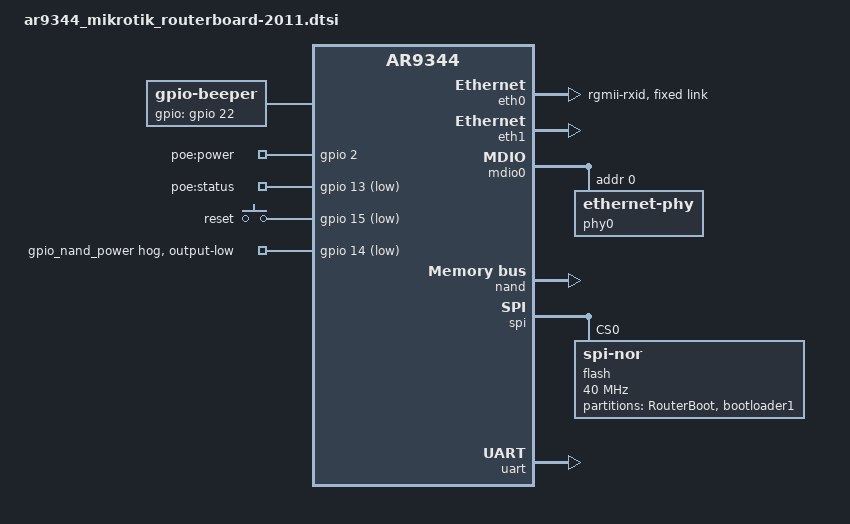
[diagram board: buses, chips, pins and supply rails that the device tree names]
// SPDX-License-Identifier: GPL-2.0-or-later OR MIT

#include "ar9344.dtsi"

#include <dt-bindings/gpio/gpio.h>
#include <dt-bindings/input/input.h>

/ {
	aliases {
		serial0 = &uart;
	};

	beeper {
		compatible = "gpio-beeper";
		gpios = <&gpio 22 GPIO_ACTIVE_HIGH>;
	};

	gpio-export {
		compatible = "gpio-export";

		gpio_poe_out {
			gpio-export,name = "poe:power";
			gpio-export,output = <0>;
			gpios = <&gpio 2 GPIO_ACTIVE_HIGH>;
		};

		gpio_poe_status {
			gpio-export,name = "poe:status";
			gpios = <&gpio 13 GPIO_ACTIVE_LOW>;
		};
	};

	keys {
		compatible = "gpio-keys";

		reset {
			debounce-interval = <60>;
			gpios = <&gpio 15 GPIO_ACTIVE_LOW>;
			label = "reset";
			linux,code = <KEY_RESTART>;
		};
	};
};

&builtin_switch {
	/delete-property/ qca,phy4-mii-enable; /* need to delete this to make all 5 FE ports work */
};

&eth0 {
	status = "okay";

	#address-cells = <1>;
	#size-cells = <0>;
	phy-mode = "rgmii-rxid";
	pll-data = <0x6f000000 0x00000101 0x00001616>; /* default for ar934x, except for 1000M */

	fixed-link {
		speed = <1000>;
		full-duplex;
	};

	gmac-config {
		device = <&gmac>;
		rgmii-gmac0 = <1>;
		rxd-delay = <1>;
		rxdv-delay = <1>;
	};

	port@0 {
		compatible = "swconfig,port";
		reg = <0>;
		swconfig,segment = "lan";
		swconfig,portmap = <1 1>;
	};

	port@1 {
		compatible = "swconfig,port";
		reg = <1>;
		swconfig,segment = "lan";
		swconfig,portmap = <2 2>;
	};

	port@2 {
		compatible = "swconfig,port";
		reg = <2>;
		swconfig,segment = "lan";
		swconfig,portmap = <3 3>;
	};

	port@3 {
		compatible = "swconfig,port";
		reg = <3>;
		swconfig,segment = "lan";
		swconfig,portmap = <4 4>;
	};

	port@4 {
		compatible = "swconfig,port";
		reg = <4>;
		swconfig,segment = "lan";
		swconfig,portmap = <5 5>;
	};

	port@5 {
		compatible = "swconfig,port";
		reg = <5>;
		swconfig,segment = "lan";
		swconfig,portmap = <6 6>;
	};

	sfp_port: port@6 {
		compatible = "swconfig,port";
		reg = <6>;
		swconfig,segment = "sfp";
		swconfig,portmap = <7 7>;
	};
};

&eth1 {
	status = "okay";

	gmac-config {
		device = <&gmac>;
		switch-only-mode = <1>;
	};
};

&gpio {
	pinctrl-names = "default";
	pinctrl-0 = <&jtag_disable_pins>;

	gpio_nand_power {
		gpio-hog;
		gpios = <14 GPIO_ACTIVE_LOW>;
		output-low;
	};
};

&mdio0 {
	status = "okay";

	phy-mask = <0>;

	phy0: ethernet-phy@0 {
		reg = <0>;

		qca,ar8327-initvals = <
			0x04 0x07c00000 /* PORT0 PAD MODE CTRL: Mac0_rgmii_en | Mac0_rgmii_txclk_delay_en | Mac0_rgmii_rxclk_delay_en | Mac0_rgmii_txclk_delay_sel3 | Mac0_rgmii_rxclk_delay_sel0 */
			0x10 0x81000080 /* PWS_REG: POWER_ON_STRAP | LED_OPEN_EN_CSR | SERDES_AEN*/
			0x50 0xc731c731 /* LED_CTRL0 */
			0x54 0x00000000 /* LED_CTRL1 */
			0x58 0x00008000 /* LED_CTRL2: disable LCD power */
			0x5c 0x0230c300 /* LED_CTRL3 */
			0x7c 0x0000007e /* PORT0_STATUS: DUPLEX_MODE_0 | RX_FLOW_EN_0 | TX_FLOW_EN_0 | RXMAC_EN_0 | TXMAC_EN_0 | SPEED_0 1000M */
			0x0c 0x00000080 /* PORT6 PAD MODE CTRL: Mac6_sgmii_en */
			0xe0 0xc701e7d0 /* SGMII_CTRL */
			0x94 0x0000007e /* PORT6_STATUS: DUPLEX_MODE_0 | RX_FLOW_EN_0 | TX_FLOW_EN_0 | RXMAC_EN_0 | TXMAC_EN_0 | SPEED_0 1000M */
		>;
	};
};

&nand {
	status = "okay";

	nand-ecc-mode = "soft";
	qca,nand-scan-fixup;
	qca,nand-swap-dma;

	partitions {
		compatible = "fixed-partitions";
		#address-cells = <1>;
		#size-cells = <1>;

		partition@0 {
			label = "booter";
			reg = <0x0000000 0x0040000>;
			read-only;
		};

		partition@40000 {
			label = "kernel";
			reg = <0x0040000 0x03c0000>;
		};

		partition@400000 {
			label = "ubi";
			reg = <0x0400000 0x7c00000>;
		};
	};
};

&spi {
	status = "okay";

	flash@0 {
		compatible = "jedec,spi-nor";
		reg = <0>;
		spi-max-frequency = <40000000>;

		partitions {
			compatible = "fixed-partitions";
			#address-cells = <1>;
			#size-cells = <1>;

			partition@0 {
				label = "RouterBoot";
				reg = <0x0 0x10000>;
				read-only;
				compatible = "mikrotik,routerboot-partitions";
				#address-cells = <1>;
				#size-cells = <1>;

				partition@0 {
					label = "bootloader1";
					reg = <0x0 0x0>;
					read-only;
				};

				hard_config: hard_config {
					read-only;
				};

				bios {
					size = <0x1000>;
					read-only;
				};

				soft_config {
				};
			};
		};
	};
};

&uart {
	status = "okay";
};
